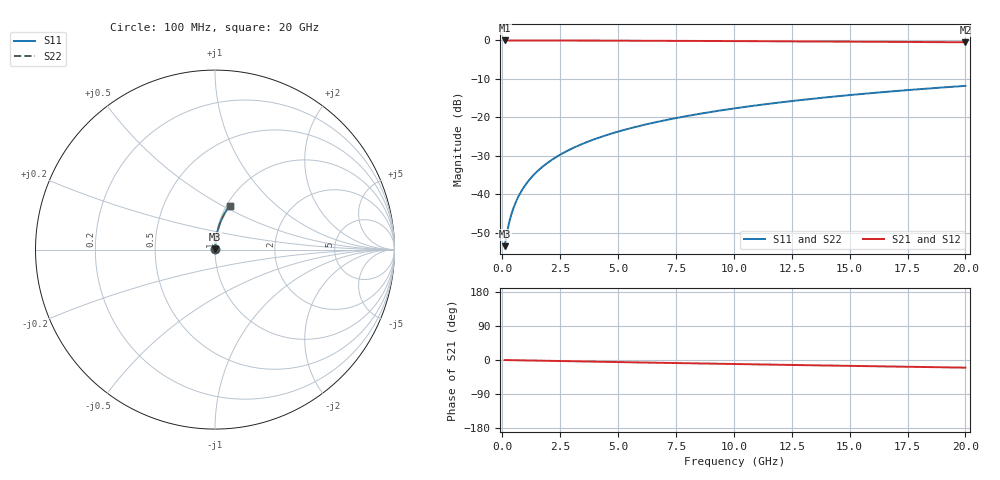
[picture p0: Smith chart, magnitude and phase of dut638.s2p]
! Touchstone file exported from HFSS 2024.1.0
!  File:  C:/UserFiles/LocalFiles/RDL_TSV_Batchsim/temp_RDL_top_638_1779780836.aedt
!  Generated:  03:36:12 PM May 26, 2026
!  Design:  RDL_top
!  Project:  temp_RDL_top_638_1779780836
!  Setup:  Setup1
!  Solution:  Sweep
! Variables:
!  dtsv = 10.80580581um
!  hbump = 3um
!  htsv = 79.56um
!  ldown = 100um
!  lrdl = 232.46um
!  p = 40
!  p1 = 46.31um
!  rhole = 1um
!  t = 450um
!  tdown = 3.915915916um
!  trdl = 4.67um
!  wdown = 15.38538539um
!  wrdl = 11.44um
# GHz S MA R 50.000000
! Terminal data exported
! Port[1] = Box2_T1
! Port[2] = Box2_T2
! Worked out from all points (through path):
!   200 points, 100 MHz to 20 GHz, reference 50 ohm
!   highest |S21| = -0.01 dB at 100 MHz (marker M1); lowest = -0.5 dB at 20 GHz (marker M2)
!   group delay of S21, straight-line fit = 2.79 ps
!   lowest |S11| = -53.5 dB at 100 MHz (marker M3), VSWR 1.00, Z = 50.2 + j0.135 ohm
!   |S11| at or under -10 dB: start of sweep to end of sweep
!   |S22| runs from -53.5 to -11.8 dB; largest |S21 - S12| = 3.7e-15
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0.1  0.002125 39.5  0.9984 -0.1  0.9984 -0.1  0.002125 39.5
! Gamma 0 0 0 0
! Port Impedance 50 0 50 0
0.2  0.003166 58.1  0.9983 -0.2  0.9983 -0.2  0.003166 58.1
0.3  0.004363 66.9  0.9983 -0.3  0.9983 -0.3  0.004363 66.9
0.4  0.005607 71.8  0.9982 -0.5  0.9982 -0.5  0.005607 71.8
0.5  0.006869 74.9  0.9982 -0.6  0.9982 -0.6  0.006869 74.9
0.6  0.008142 77.0  0.9981 -0.7  0.9981 -0.7  0.008142 77.0
0.8  0.01071 79.7  0.998 -0.9  0.998 -0.9  0.01071 79.7
1.1  0.01458 81.9  0.9979 -1.2  0.9979 -1.2  0.01458 81.9
1.5  0.01977 83.4  0.9976 -1.7  0.9976 -1.7  0.01977 83.4
1.8  0.02367 84.0  0.9973 -2.0  0.9973 -2.0  0.02367 84.0
2.1  0.02758 84.4  0.997 -2.3  0.997 -2.3  0.02758 84.4
2.7  0.03539 84.7  0.9963 -3.0  0.9963 -3.0  0.03539 84.7
3.5  0.04581 84.6  0.9951 -3.9  0.9951 -3.9  0.04581 84.6
4.2  0.05493 84.4  0.9939 -4.6  0.9939 -4.6  0.05493 84.4
5  0.06535 84.1  0.9924 -5.5  0.9924 -5.5  0.06535 84.1
5.9  0.07708 83.5  0.9904 -6.4  0.9904 -6.4  0.07708 83.5
6.8  0.08882 83.0  0.9882 -7.4  0.9882 -7.4  0.08882 83.0
8.3  0.1084 81.9  0.9844 -8.9  0.9844 -8.9  0.1084 81.9
10.1  0.1319 80.4  0.9793 -10.7  0.9793 -10.7  0.1319 80.4
13.4  0.1746 77.5  0.969 -14.0  0.969 -14.0  0.1746 77.5
16.7  0.2163 74.5  0.9577 -17.1  0.9577 -17.1  0.2163 74.5
20  0.2566 71.5  0.9455 -20.2  0.9455 -20.2  0.2566 71.5
